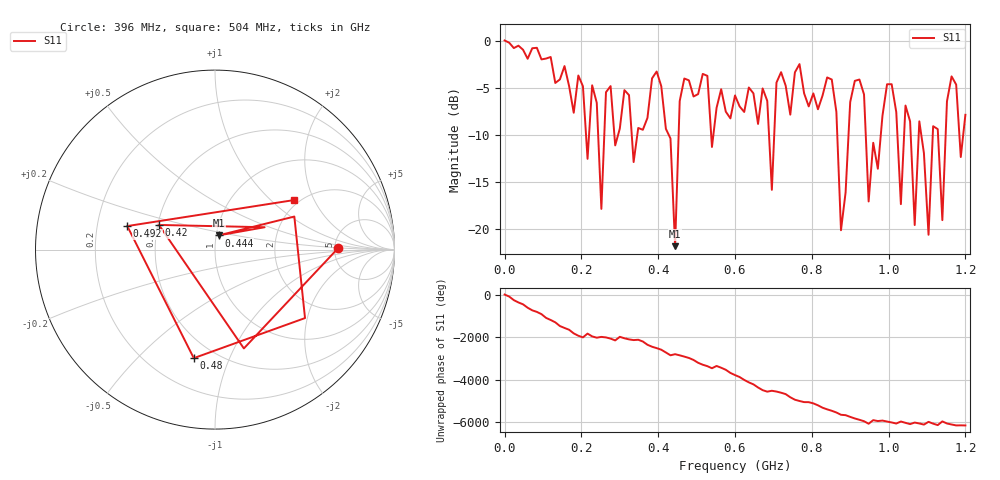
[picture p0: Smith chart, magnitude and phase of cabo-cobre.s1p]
# HZ S RI R 50
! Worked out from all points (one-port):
!   101 points, 50 kHz to 1.2 GHz, reference 50 ohm
!   lowest |S11| = -21.8 dB at 444 MHz (marker M1), VSWR 1.18, Z = 51.4 + j8.18 ohm
!   |S11| at or under -10 dB: 427.8 MHz to 453.2 MHz (25.46 MHz wide, 5.78 % of centre); 866.4 MHz to 895.6 MHz (29.27 MHz wide, 3.32 % of centre); 940.6 MHz to 979.7 MHz (39.1 MHz wide, 4.07 % of centre) (the widest 3 of 14)
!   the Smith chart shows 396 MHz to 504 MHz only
!   S11 on the Smith chart (normalised r, x): 396 MHz: 5.37, +0.17; 420 MHz: 0.51, +0.16; 444 MHz: 1.03, +0.16; 480 MHz: 0.38, -0.75; 492 MHz: 0.33, +0.12; 504 MHz: 1.88, +1.42
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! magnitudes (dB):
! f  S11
! 50 kHz  0.0
! 156 MHz  -2.7
! 240 MHz  -6.6
! 252 MHz  -17.8
! 264 MHz  -5.5
! 300 MHz  -9.3
! 396 MHz  -3.3
! 420 MHz  -9.3
! 444 MHz  -21.8
! 456 MHz  -6.4
! 480 MHz  -4.2
! 492 MHz  -5.9
! 504 MHz  -5.7
! 600 MHz  -5.8
! 696 MHz  -15.8
! 708 MHz  -4.4
! 756 MHz  -3.4
! 852 MHz  -4.1
! 876 MHz  -20.1
! 900 MHz  -6.5
! 936 MHz  -5.7
! 948 MHz  -17.0
! 1.056 GHz  -8.6
! 1.104 GHz  -20.6
! 1.116 GHz  -9.1
! 1.14 GHz  -19.0
! 1.164 GHz  -3.8
! 1.2 GHz  -7.9
